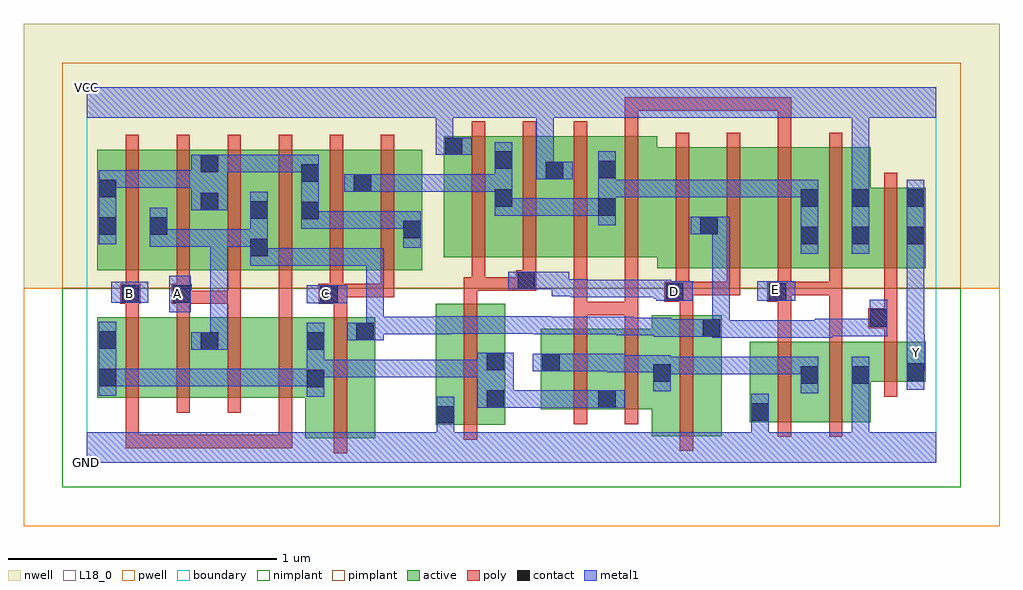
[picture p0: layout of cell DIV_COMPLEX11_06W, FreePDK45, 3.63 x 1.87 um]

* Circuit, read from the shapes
.subckt DIV_COMPLEX11_06W A B C D E GND VCC Y
M1 n1 B n2 VSUBS nfet w=0.3u l=0.05u
M2 n3 A n1 VSUBS nfet w=0.3u l=0.05u
M3 n4 A n3 VSUBS nfet w=0.3u l=0.05u
M4 n2 B n4 VSUBS nfet w=0.3u l=0.05u
M5 n3 C n2 VSUBS nfet w=0.45u l=0.05u
M6 n2 D GND VSUBS nfet w=0.45u l=0.05u
M7 n2 E n5 VSUBS nfet w=0.3u l=0.05u m=2
M8 n3 D n5 VSUBS nfet w=0.45u l=0.05u
M9 n5 E GND VSUBS nfet w=0.3u l=0.05u m=2
M10 Y n3 GND VSUBS nfet w=0.15u l=0.05u
M11 n3 B n6 n7 pfet w=0.45u l=0.05u m=2
M12 n6 A n3 n7 pfet w=0.45u l=0.05u m=2
M13 n8 C n6 n7 pfet w=0.45u l=0.05u m=2
M14 n8 D VCC n7 pfet w=0.45u l=0.05u m=2
M15 n8 E VCC n7 pfet w=0.45u l=0.05u m=2
M16 n9 E n8 n7 pfet w=0.45u l=0.05u
M17 n3 D n9 n7 pfet w=0.45u l=0.05u
M18 n10 D n3 n7 pfet w=0.45u l=0.05u
M19 n8 E n10 n7 pfet w=0.45u l=0.05u
M20 Y n3 VCC n7 pfet w=0.3u l=0.05u
.ends

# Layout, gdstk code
import gdstk
lib = gdstk.Library(unit=1e-6, precision=1e-09)
def R(c, l, rs):  # rectangles x0, y0, x1, y1
    for r in rs: c.add(gdstk.rectangle(r[:2], r[2:], *l))
def A(c, l, x, y, w, h, nx, ny, dx, dy):  # array of equal rectangles
    R(c, l, [(x+i*dx, y+j*dy, x+i*dx+w, y+j*dy+h) for i in range(nx) for j in range(ny)])
active = (1, 0)
pwell = (2, 0)
nwell = (3, 0)
nimplant = (4, 0)
pimplant = (5, 0)
poly = (9, 0)
contact = (10, 0)
metal1 = (11, 0)
L18_0 = (18, 0)
boundary = (235, 0)

div_complex11_06w = lib.new_cell('DIV_COMPLEX11_06W')
R(div_complex11_06w, active, [(0.815,0.092,1.075,0.542), (2.105,0.1,2.365,0.55), (1.3,0.142,1.56,0.592), (1.3,0.142,1.375,0.592), (1,0.145,1.075,0.542), (1.485,0.145,1.56,0.592), (2.29,0.145,2.365,0.55), (2.47,0.152,2.545,0.452), (2.47,0.152,2.73,0.452), (2.655,0.152,2.92,0.452), (2.845,0.152,2.92,0.452), (0.815,0.2,0.89,0.542), (1.692,0.2,1.975,0.5), (1.9,0.2,1.975,0.392), (1.9,0.2,2.18,0.5), (2.105,0.2,2.18,0.392), (2.655,0.2,2.73,0.392), (0.04,0.242,0.115,0.542), (0.04,0.242,0.265,0.542), (0.265,0.242,0.495,0.542), (0.42,0.242,0.645,0.542), (0.645,0.242,0.89,0.542), (0.42,0.295,0.495,0.517), (1.692,0.295,1.767,0.5), (2.845,0.302,3.125,0.452), (3.05,0.302,3.125,0.452), (0.04,0.717,0.115,1.167), (0.04,0.717,0.305,1.167), (0.23,0.717,0.495,1.167), (0.23,0.717,0.305,1.07), (0.42,0.717,0.68,1.167), (0.605,0.717,0.87,1.167), (0.605,0.717,0.68,1.07), (0.795,0.717,1.065,1.167), (0.99,0.717,1.25,1.167), (1.175,0.717,1.25,1.047), (2.125,0.725,2.355,1.175), (2.28,0.725,2.505,1.175), (2.28,0.725,2.355,1.07), (2.505,0.725,2.73,1.175), (2.655,0.725,2.92,1.175), (2.655,0.725,2.73,1.155), (2.845,0.725,3.125,1.025), (2.845,0.725,2.92,1.175), (3.05,0.725,3.125,1.025), (1.33,0.767,1.59,1.217), (1.515,0.767,1.78,1.217), (1.515,0.767,1.59,1.165), (1.705,0.767,1.975,1.217), (1.9,0.767,2.125,1.217), (1.9,0.767,1.975,1.165), (0.42,0.827,0.495,1.167), (1.705,0.85,1.78,1.217), (0.795,0.852,0.87,1.167), (0.99,0.857,1.065,1.167), (1.33,0.857,1.405,1.217)])
R(div_complex11_06w, pwell, [(-0.235,-0.235,3.4,0.65)])
R(div_complex11_06w, nwell, [(-0.235,0.65,3.4,1.635)])
R(div_complex11_06w, nimplant, [(-0.09,-0.09,3.255,0.65)])
R(div_complex11_06w, pimplant, [(-0.09,0.65,3.255,1.49)])
A(div_complex11_06w, poly, 0.145, 0.187, 0.05, 0.41, 4, 1, 0.19, 0)
A(div_complex11_06w, poly, 0.145, 0.547, 0.05, 0.095, 4, 1, 0.19, 0)
A(div_complex11_06w, poly, 2.195, 0.625, 0.05, 0.095, 4, 1, 0.19, 0)
A(div_complex11_06w, poly, 0.145, 0.662, 0.05, 0.56, 6, 1, 0.19, 0)
A(div_complex11_06w, poly, 2.195, 0.67, 0.05, 0.56, 4, 1, 0.19, 0)
A(div_complex11_06w, poly, 1.435, 0.712, 0.05, 0.56, 4, 1, 0.19, 0)
R(div_complex11_06w, poly, [(0.92,0.037,0.97,0.597), (2.21,0.045,2.26,0.605), (0.145,0.055,0.195,0.105), (0.145,0.055,0.195,0.237), (0.145,0.055,0.327,0.105), (0.277,0.055,0.327,0.105), (0.277,0.055,0.327,0.105), (0.277,0.055,0.327,0.105), (0.277,0.055,0.525,0.105), (0.475,0.055,0.525,0.105), (0.475,0.055,0.525,0.105), (0.475,0.055,0.525,0.105), (0.475,0.055,0.765,0.105), (0.715,0.055,0.765,0.105), (0.715,0.055,0.765,0.105), (0.715,0.055,0.765,0.105), (0.715,0.055,0.765,0.237), (1.405,0.087,1.455,0.647), (2.575,0.097,2.625,0.507), (2.765,0.097,2.815,0.507), (1.815,0.145,1.865,0.555), (2.005,0.145,2.055,0.555), (2.97,0.247,3.02,0.507), (2.575,0.457,2.625,0.65), (2.765,0.457,2.815,0.675), (2.97,0.457,3.02,0.552), (2.912,0.502,3.02,0.577), (1.815,0.505,1.865,0.6), (2.005,0.505,2.055,0.6), (2.97,0.527,3.02,0.72), (0.92,0.547,0.97,0.642), (1.815,0.55,1.865,0.6), (1.815,0.55,1.865,0.6), (1.815,0.55,1.865,0.6), (1.815,0.55,2.055,0.6), (1.815,0.55,1.865,0.762), (2.005,0.55,2.055,0.6), (2.005,0.55,2.055,0.762), (2.21,0.555,2.26,0.65), (0.125,0.592,0.2,0.667), (0.317,0.592,0.392,0.667), (0.342,0.592,0.575,0.642), (0.525,0.592,0.575,0.642), (0.525,0.592,0.575,0.642), (0.525,0.592,0.575,0.642), (0.525,0.592,0.575,0.712), (0.715,0.592,0.765,0.642), (0.715,0.592,0.765,0.712), (0.865,0.592,0.97,0.667), (1.405,0.597,1.455,0.692), (2.152,0.6,2.26,0.675), (2.535,0.6,2.625,0.675), (0.145,0.617,0.195,0.712), (0.335,0.617,0.385,0.712), (0.905,0.617,0.955,0.712), (0.92,0.617,1.145,0.667), (1.095,0.617,1.145,0.712), (1.095,0.617,1.145,0.667), (1.095,0.617,1.145,0.667), (1.095,0.617,1.145,0.667), (2.21,0.625,2.435,0.675), (2.385,0.625,2.435,0.675), (2.385,0.625,2.435,0.675), (2.385,0.625,2.435,0.675), (2.575,0.625,2.815,0.675), (2.765,0.625,2.815,0.675), (2.765,0.625,2.815,0.675), (2.765,0.625,2.815,0.675), (1.405,0.642,1.485,0.692), (1.435,0.642,1.485,0.692), (1.435,0.642,1.485,0.692), (1.435,0.642,1.65,0.692), (1.435,0.642,1.485,0.762), (1.6,0.642,1.675,0.717), (1.625,0.667,1.675,0.762), (2.97,0.67,3.02,1.08), (2.575,1.18,2.625,1.362), (2.005,1.222,2.055,1.362), (2.005,1.312,2.055,1.362), (2.005,1.312,2.055,1.362), (2.005,1.312,2.055,1.362), (2.005,1.312,2.26,1.362), (2.21,1.312,2.26,1.362), (2.21,1.312,2.392,1.362), (2.342,1.312,2.392,1.362), (2.342,1.312,2.392,1.362), (2.342,1.312,2.392,1.362), (2.342,1.312,2.625,1.362), (2.575,1.312,2.625,1.362), (2.575,1.312,2.625,1.362), (2.575,1.312,2.625,1.362)])
R(div_complex11_06w, contact, [(1.305,0.147,1.37,0.212), (2.475,0.157,2.54,0.222), (1.49,0.205,1.555,0.27), (1.905,0.205,1.97,0.27), (0.82,0.282,0.885,0.347), (0.045,0.285,0.11,0.35), (2.66,0.295,2.725,0.36), (2.85,0.295,2.915,0.36), (2.11,0.302,2.175,0.367), (3.055,0.307,3.12,0.372), (1.697,0.342,1.762,0.407), (1.49,0.345,1.555,0.41), (0.425,0.422,0.49,0.487), (0.82,0.422,0.885,0.487), (0.045,0.425,0.11,0.49), (1.005,0.457,1.07,0.522), (2.295,0.47,2.36,0.535), (2.917,0.507,2.982,0.572), (0.13,0.597,0.195,0.662), (0.322,0.597,0.387,0.662), (0.87,0.597,0.935,0.662), (2.157,0.605,2.222,0.67), (2.54,0.605,2.605,0.67), (1.605,0.647,1.67,0.712), (0.61,0.77,0.675,0.835), (2.66,0.815,2.725,0.88), (2.85,0.815,2.915,0.88), (3.055,0.815,3.12,0.88), (1.18,0.837,1.245,0.902), (0.045,0.85,0.11,0.915), (0.235,0.85,0.3,0.915), (2.285,0.852,2.35,0.917), (0.8,0.907,0.865,0.972), (0.61,0.91,0.675,0.975), (1.905,0.92,1.97,0.985), (0.425,0.942,0.49,1.007), (1.52,0.955,1.585,1.02), (2.66,0.955,2.725,1.02), (2.85,0.955,2.915,1.02), (3.055,0.955,3.12,1.02), (0.045,0.99,0.11,1.055), (0.995,1.01,1.06,1.075), (0.8,1.047,0.865,1.112), (1.71,1.057,1.775,1.122), (1.905,1.06,1.97,1.125), (0.425,1.082,0.49,1.147), (1.52,1.095,1.585,1.16), (1.335,1.147,1.4,1.212)])
R(div_complex11_06w, metal1, [(0,0,3.165,0.115), (1.305,0.05,1.37,0.115), (1.305,0.05,1.37,0.115), (1.305,0.05,1.37,0.177), (2.475,0.05,2.54,0.115), (2.475,0.05,2.54,0.115), (2.475,0.05,2.54,0.187), (2.85,0.05,2.915,0.325), (2.85,0.05,2.915,0.115), (2.85,0.05,2.915,0.115), (2.85,0.05,2.915,0.115), (2.85,0.05,2.915,0.115), (1.305,0.112,1.37,0.247), (2.475,0.122,2.54,0.187), (2.475,0.122,2.54,0.187), (2.475,0.122,2.54,0.257), (1.455,0.205,1.59,0.41), (1.525,0.205,1.727,0.27), (1.662,0.205,1.727,0.27), (1.662,0.205,1.727,0.27), (1.662,0.205,1.727,0.27), (1.662,0.205,1.867,0.27), (1.802,0.205,1.867,0.27), (1.802,0.205,1.935,0.27), (1.87,0.205,2.005,0.27), (0.82,0.247,0.885,0.522), (0.045,0.25,0.11,0.525), (2.66,0.26,2.725,0.395), (2.85,0.26,2.915,0.395), (2.11,0.267,2.175,0.402), (3.055,0.272,3.12,0.407), (0.045,0.285,0.11,0.35), (0.045,0.285,0.11,0.35), (0.045,0.285,0.317,0.35), (0.252,0.285,0.317,0.35), (0.252,0.285,0.317,0.35), (0.252,0.285,0.317,0.35), (0.252,0.285,0.537,0.35), (0.472,0.285,0.537,0.35), (0.472,0.285,0.537,0.35), (0.472,0.285,0.537,0.35), (0.472,0.285,0.675,0.35), (0.61,0.285,0.675,0.35), (0.61,0.285,0.675,0.35), (0.61,0.285,0.675,0.35), (0.61,0.285,0.885,0.35), (0.82,0.32,0.885,0.385), (0.82,0.32,0.885,0.385), (0.82,0.32,1.107,0.385), (1.042,0.32,1.107,0.385), (1.042,0.32,1.107,0.385), (1.042,0.32,1.107,0.385), (1.042,0.32,1.345,0.385), (1.28,0.32,1.345,0.385), (1.28,0.32,1.345,0.385), (1.28,0.32,1.345,0.385), (1.28,0.32,1.497,0.385), (1.432,0.32,1.497,0.385), (1.432,0.32,1.52,0.385), (2.11,0.33,2.175,0.395), (2.11,0.33,2.175,0.395), (2.11,0.33,2.402,0.395), (2.337,0.33,2.402,0.395), (2.337,0.33,2.402,0.395), (2.337,0.33,2.402,0.395), (2.337,0.33,2.54,0.395), (2.475,0.33,2.54,0.395), (2.475,0.33,2.54,0.395), (2.475,0.33,2.54,0.395), (2.475,0.33,2.725,0.395), (1.94,0.337,2.005,0.407), (1.94,0.337,2.175,0.402), (1.662,0.342,1.797,0.407), (1.732,0.342,1.867,0.407), (1.802,0.342,1.867,0.407), (1.802,0.342,1.935,0.407), (1.87,0.342,1.935,0.407), (1.87,0.342,2.005,0.407), (3.055,0.342,3.12,0.407), (3.055,0.342,3.122,0.477), (3.055,0.412,3.12,0.845), (0.39,0.422,0.525,0.487), (0.46,0.422,0.525,0.487), (0.46,0.422,0.525,0.487), (0.46,0.422,0.525,0.87), (0.97,0.457,1.107,0.522), (1.042,0.457,1.107,0.522), (1.042,0.457,1.107,0.522), (1.042,0.457,1.107,0.522), (1.042,0.457,1.107,0.545), (1.042,0.457,1.107,0.8), (2.33,0.467,2.587,0.532), (2.33,0.467,2.395,0.535), (2.522,0.467,2.587,0.532), (2.522,0.467,2.587,0.532), (2.522,0.467,2.587,0.532), (2.522,0.467,2.777,0.532), (2.712,0.467,2.777,0.532), (2.712,0.467,2.777,0.537), (2.112,0.47,2.177,0.535), (2.112,0.47,2.177,0.535), (2.112,0.47,2.177,0.54), (2.112,0.47,2.325,0.535), (2.26,0.47,2.395,0.535), (2.33,0.47,2.395,0.535), (2.33,0.47,2.395,0.535), (2.33,0.47,2.395,0.535), (2.33,0.47,2.395,0.917), (2.712,0.472,2.777,0.537), (2.712,0.472,2.777,0.537), (2.712,0.472,2.777,0.537), (2.712,0.472,2.982,0.537), (2.917,0.472,2.982,0.537), (2.917,0.472,2.982,0.537), (2.917,0.472,2.982,0.607), (1.972,0.475,2.037,0.545), (1.972,0.475,2.177,0.54), (1.042,0.48,1.36,0.545), (1.295,0.48,1.36,0.545), (1.295,0.48,1.36,0.545), (1.295,0.48,1.36,0.547), (1.662,0.48,1.727,0.545), (1.662,0.48,1.727,0.545), (1.662,0.48,1.867,0.545), (1.662,0.48,1.727,0.547), (1.802,0.48,1.867,0.545), (1.802,0.48,2.037,0.545), (1.972,0.48,2.037,0.545), (1.972,0.48,2.037,0.545), (1.295,0.482,1.497,0.547), (1.432,0.482,1.497,0.547), (1.432,0.482,1.497,0.547), (1.432,0.482,1.497,0.547), (1.432,0.482,1.727,0.547), (0.307,0.562,0.387,0.697), (0.82,0.595,0.97,0.662), (0.092,0.597,0.23,0.675), (2.122,0.605,2.257,0.677), (2.497,0.605,2.64,0.677), (2.112,0.612,2.177,0.682), (2.112,0.612,2.187,0.677), (1.802,0.617,1.867,0.685), (1.802,0.617,2.037,0.682), (1.972,0.617,2.037,0.682), (1.972,0.617,2.037,0.682), (1.972,0.617,2.037,0.682), (1.972,0.617,2.177,0.682), (1.732,0.62,1.867,0.685), (1.732,0.62,1.797,0.712), (1.57,0.647,1.705,0.712), (1.64,0.647,1.797,0.712), (0.61,0.735,0.675,1.01), (0.61,0.735,0.675,0.8), (0.61,0.735,0.675,0.8), (0.61,0.735,0.812,0.8), (0.747,0.735,0.812,0.8), (0.747,0.735,0.812,0.8), (0.747,0.735,0.812,0.8), (0.747,0.735,1.107,0.8), (1.042,0.735,1.107,0.8), (2.66,0.78,2.725,1.055), (2.85,0.78,2.915,1.055), (3.055,0.78,3.12,1.055), (1.18,0.802,1.245,0.937), (0.235,0.805,0.525,0.87), (0.235,0.805,0.3,0.88), (0.46,0.805,0.525,0.87), (0.46,0.805,0.525,0.87), (0.46,0.805,0.525,0.87), (0.46,0.805,0.675,0.87), (0.045,0.815,0.11,1.09), (0.235,0.815,0.3,0.88), (0.235,0.815,0.3,0.95), (2.25,0.852,2.395,0.917), (0.8,0.872,0.865,1.147), (0.8,0.872,0.865,0.937), (0.8,0.872,0.865,0.937), (0.8,0.872,1.107,0.937), (1.042,0.872,1.107,0.937), (1.042,0.872,1.207,0.937), (1.142,0.872,1.207,0.937), (1.142,0.872,1.245,0.937), (1.905,0.885,1.97,1.16), (1.52,0.92,1.585,1.195), (1.52,0.92,1.727,0.985), (1.662,0.92,1.727,0.985), (1.662,0.92,1.727,0.985), (1.662,0.92,1.727,0.985), (1.662,0.92,1.867,0.985), (1.802,0.92,1.867,0.985), (1.802,0.92,1.97,0.985), (0.39,0.942,0.525,1.147), (1.905,0.99,2.005,1.055), (1.94,0.99,2.005,1.055), (1.94,0.99,2.177,1.055), (2.112,0.99,2.177,1.055), (2.112,0.99,2.177,1.055), (2.112,0.99,2.177,1.055), (2.112,0.99,2.402,1.055), (2.337,0.99,2.402,1.055), (2.337,0.99,2.402,1.055), (2.337,0.99,2.402,1.055), (2.337,0.99,2.587,1.055), (2.522,0.99,2.587,1.055), (2.522,0.99,2.587,1.055), (2.522,0.99,2.587,1.055), (2.522,0.99,2.725,1.055), (2.85,0.99,2.915,1.055), (2.85,0.99,2.915,1.055), (2.85,0.99,2.915,1.35), (0.96,1.01,1.095,1.075), (1.03,1.01,1.107,1.075), (1.042,1.01,1.107,1.075), (1.042,1.01,1.345,1.075), (1.28,1.01,1.345,1.075), (1.28,1.01,1.345,1.075), (1.28,1.01,1.345,1.075), (1.28,1.01,1.497,1.075), (1.432,1.01,1.497,1.075), (1.432,1.01,1.585,1.075), (0.045,1.025,0.11,1.09), (0.045,1.025,0.11,1.09), (0.045,1.025,0.317,1.09), (0.252,1.025,0.317,1.09), (0.252,1.025,0.387,1.09), (0.322,1.025,0.387,1.09), (0.322,1.025,0.455,1.09), (1.675,1.057,1.74,1.192), (1.675,1.057,1.81,1.122), (0.46,1.082,0.525,1.147), (0.46,1.082,0.525,1.147), (0.46,1.082,0.675,1.147), (0.61,1.082,0.675,1.147), (0.61,1.082,0.675,1.147), (0.61,1.082,0.675,1.147), (0.61,1.082,0.865,1.147), (1.675,1.127,1.74,1.192), (1.675,1.127,1.74,1.35), (1.3,1.147,1.435,1.212), (1.3,1.147,1.365,1.35), (0,1.285,3.165,1.4), (1.3,1.285,1.365,1.35), (1.3,1.285,1.365,1.35)])
R(div_complex11_06w, L18_0, [(0,0,3.165,0.115), (1.305,0.05,1.37,0.115), (1.305,0.05,1.37,0.115), (1.305,0.05,1.37,0.177), (2.475,0.05,2.54,0.115), (2.475,0.05,2.54,0.115), (2.475,0.05,2.54,0.187), (2.85,0.05,2.915,0.115), (2.85,0.05,2.915,0.115), (2.85,0.05,2.915,0.115), (2.85,0.05,2.915,0.115), (2.85,0.05,2.915,0.325), (1.305,0.112,1.37,0.247), (2.475,0.122,2.54,0.187), (2.475,0.122,2.54,0.187), (2.475,0.122,2.54,0.257), (2.85,0.26,2.915,0.395), (3.055,0.272,3.12,0.407), (3.055,0.342,3.12,0.407), (3.055,0.342,3.122,0.477), (3.057,0.377,3.122,0.442), (3.055,0.412,3.12,0.845), (0.307,0.562,0.387,0.697), (0.82,0.595,0.97,0.662), (0.092,0.597,0.23,0.675), (0.127,0.597,0.192,0.662), (0.307,0.597,0.372,0.662), (0.857,0.597,0.922,0.662), (2.122,0.605,2.257,0.677), (2.497,0.605,2.64,0.677), (2.157,0.607,2.222,0.672), (2.112,0.612,2.177,0.682), (2.112,0.612,2.187,0.677), (2.532,0.612,2.597,0.677), (1.802,0.617,1.867,0.685), (1.802,0.617,2.037,0.682), (1.972,0.617,2.037,0.682), (1.972,0.617,2.037,0.682), (1.972,0.617,2.037,0.682), (1.972,0.617,2.177,0.682), (1.732,0.62,1.867,0.685), (1.732,0.62,1.797,0.712), (1.57,0.647,1.705,0.712), (1.64,0.647,1.797,0.712), (2.85,0.78,2.915,1.055), (3.055,0.78,3.12,1.055), (2.85,0.99,2.915,1.055), (2.85,0.99,2.915,1.055), (2.85,0.99,2.915,1.35), (1.675,1.057,1.74,1.192), (1.675,1.057,1.81,1.122), (1.675,1.127,1.74,1.192), (1.675,1.127,1.74,1.35), (1.3,1.147,1.435,1.212), (1.3,1.147,1.365,1.35), (0,1.285,3.165,1.4), (1.3,1.285,1.365,1.35), (1.3,1.285,1.365,1.35)])
R(div_complex11_06w, boundary, [(0,0,3.165,1.4)])
div_complex11_06w.add(gdstk.Label('A', (0.34,0.63), layer=11, texttype=0))
div_complex11_06w.add(gdstk.Label('B', (0.16,0.63), layer=11, texttype=0))
div_complex11_06w.add(gdstk.Label('C', (0.89,0.63), layer=11, texttype=0))
div_complex11_06w.add(gdstk.Label('D', (2.19,0.64), layer=11, texttype=0))
div_complex11_06w.add(gdstk.Label('E', (2.565,0.645), layer=11, texttype=0))
div_complex11_06w.add(gdstk.Label('Y', (3.09,0.41), layer=11, texttype=0))
div_complex11_06w.add(gdstk.Label('VCC', (0,1.4), layer=11, texttype=0))
div_complex11_06w.add(gdstk.Label('GND', (0,0), layer=11, texttype=0))

lib.write_gds('DIV_COMPLEX11_06W.gds')
